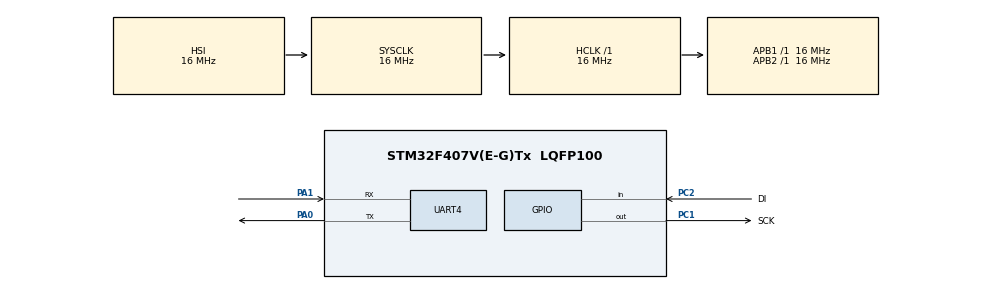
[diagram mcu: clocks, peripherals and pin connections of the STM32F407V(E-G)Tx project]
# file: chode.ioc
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Mcu.Family=STM32F4
Mcu.Name=STM32F407V(E-G)Tx
Mcu.Package=LQFP100
NVIC.PriorityGroup=NVIC_PRIORITYGROUP_4
NVIC.UART4_IRQn=true\:1\:0\:true\:false\:true\:true\:true\:true
PA0-WKUP.Mode=Asynchronous
PA0-WKUP.Signal=UART4_TX
PA1.Mode=Asynchronous
PA1.Signal=UART4_RX
PC1.GPIO_Label=SCK
PC1.Signal=GPIO_Output
PC2.GPIO_Label=DI
PC2.Signal=GPIO_Input
PH0-OSC_IN.Mode=HSE-External-Oscillator
PH0-OSC_IN.Signal=RCC_OSC_IN
PH1-OSC_OUT.Mode=HSE-External-Oscillator
PH1-OSC_OUT.Signal=RCC_OSC_OUT
ProjectManager.HeapSize=0x200
ProjectManager.StackSize=0x400
ProjectManager.TargetToolchain=MDK-ARM V5.32
RCC.AHBFreq_Value=16000000
RCC.APB1Freq_Value=16000000
RCC.APB2Freq_Value=16000000
RCC.CortexFreq_Value=16000000
RCC.HSE_VALUE=25000000
RCC.HSI_VALUE=16000000
RCC.LSE_VALUE=32768
RCC.SYSCLKFreq_VALUE=16000000
RCC.VCOOutputFreq_Value=192000000
UART4.VirtualMode=Asynchronous
board=custom

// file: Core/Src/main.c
/* USER CODE BEGIN Header */
/**
  ******************************************************************************
  * @file           : main.c
  * @brief          : Main program body
  ******************************************************************************
  * @attention
  *
  * Copyright (c) 2023 STMicroelectronics.
  * All rights reserved.
  *
  * This software is licensed under terms that can be found in the LICENSE file
  * in the root directory of this software component.
  * If no LICENSE file comes with this software, it is provided AS-IS.
  *
  ******************************************************************************
  */
/* USER CODE END Header */
#include "main.h"

/* USER CODE BEGIN Includes */
#include "string.h"
#include <stdio.h>
#include "hx711.h"
#include <stdbool.h>
#include "stm32f4xx_hal.h"
/* USER CODE END Includes */

UART_HandleTypeDef huart4;

/* USER CODE BEGIN PV */
#define MAX_LEN 8
uint8_t nRxData[MAX_LEN];
uint8_t nTxData[MAX_LEN];
uint8_t STX[1] = {0xFF};
uint8_t ETX[1] = {0x40};
uint8_t SRX[1] = {0xFE};
uint8_t ERX[1] = {0x40};

bool bDataAvailable;
uint8_t strCommand[2];
uint8_t strOpt[2];
uint8_t strData[2];

uint8_t sampleArray[2] = {0x00, 0x04};
uint8_t sampleArray1[2] = {0x00, 0x00};
uint8_t stroffset[4];
uint8_t strtile[2];
uint8_t strload[2];
uint8_t strweight[2];

hx711_t loadcell;
float weight;
float tilechuyendoi;
int32_t offset=0;
int32_t load_value;
float scale;
int calibb1=0;
int calibb2=0;
/* USER CODE END PV */

void SystemClock_Config(void);
static void MX_GPIO_Init(void);
static void MX_UART4_Init(void);
/* USER CODE BEGIN PFP */

uint8_t *subString(uint8_t *s, int pos, int index)
{
	uint8_t *t = &s[pos];
	s[pos-1] = '\0';
	for (int i= index; i< (strlen((char *)t)+1);i++)
	{
		t[i]='\0';
	}
	return t;
}

bool StrCompare(uint8_t *pBuff, uint8_t *Sample, uint8_t nSize)
{
	for(int i=0;i<nSize;i++)
	{
		if (pBuff[i] != Sample[i])
		{
			return false;
		}
	}
	return true;
}

bool WriteComm(uint8_t *pBuff, uint8_t nSize)
{
	return HAL_UART_Transmit(&huart4,pBuff,nSize,1000);
}

bool ReadComm(uint8_t *pBuff, uint8_t nSize)
{

	if ((pBuff[0] == SRX[0]) && (pBuff[7] == ERX[0]))
	{
		memcpy(strCommand, subString(pBuff,1,2),2);
		memcpy(strOpt, subString(pBuff,3,2),2);
		memcpy(strData, subString(pBuff,5,2),2);
		bDataAvailable = true;

	}
	else
	{
		bDataAvailable = false;
	}
	return bDataAvailable;
}
int a=0;
void HAL_UART_RxCpltCallback(UART_HandleTypeDef *huart)
{
    // X? lý các s? ki?n UART nh?n du?c d? li?u
		if (huart->Instance== huart4.Instance)
		{
			ReadComm(nRxData, MAX_LEN);
			HAL_UART_Receive_IT(&huart4, (uint8_t *)nRxData, MAX_LEN);
			a+=1;
		}
    // Th?c hi?n các công vi?c c?n thi?t
}

bool serialProcesscalib(void)
{
	uint8_t nIndex =0;
	if (bDataAvailable == true)
	{
		if (StrCompare(strCommand,(uint8_t *)sampleArray,2))
		{
			if (StrCompare(strData,(uint8_t *)sampleArray1,2)) // doc offset khi ko load
			{
				memcpy(nTxData +nIndex,STX,1);
				nIndex+=1;
				uint8_t soffset[2] = {0x01, 0x04};
				memcpy(nTxData + nIndex,soffset,2);
				nIndex+=2;
				//memcpy(nTxData + nIndex,sampleArray1,2);
				//nIndex+=2;
				offset = hx711_value_ave(&loadcell,10);
				hx711_tare(&loadcell, 10);
				memcpy(stroffset, &offset, sizeof(int32_t));
				memcpy(nTxData + nIndex,stroffset,4);
				nIndex+=4;
				memcpy(nTxData +nIndex,ETX,1);

				WriteComm(nTxData,MAX_LEN);
				calibb1 +=1;
			}
			else
			{
				memcpy(nTxData +nIndex,STX,1);
				nIndex+=1;
				uint8_t stile[2] = {0x02, 0x04};
				memcpy(nTxData + nIndex,stile,2);
				nIndex+=2;

				uint16_t combinedValue = (strData[1] << 8) | strData[0];
				scale = (float)combinedValue;
				load_value = hx711_value_ave(&loadcell,10);
				hx711_calibration(&loadcell,offset,load_value,scale);
				tilechuyendoi= hx711_coef_get(&loadcell);
				int tile= (int)tilechuyendoi;
				memcpy(strtile, &tile, sizeof(int));
				memcpy(nTxData + nIndex,strtile,2);
				nIndex+=2;
				memcpy(strload, &load_value, sizeof(int32_t));
				memcpy(nTxData + nIndex,strload,2);
				nIndex+=2;
				memcpy(nTxData +nIndex,ETX,1);

				WriteComm(nTxData,MAX_LEN);
				calibb1 +=1;
				calibb2 =1;
			}
		}
		bDataAvailable = false;

	}
	return true;
}

void UART_SendData(float data)
{
    char buffer[20];
    snprintf(buffer, sizeof(buffer), "%.2f\r\n", data); // Format d? li?u thành chu?i
    HAL_UART_Transmit(&huart4, (uint8_t*)buffer, strlen(buffer), HAL_MAX_DELAY); // G?i chu?i qua UART
}
/* USER CODE END PFP */

int main(void)
{

  /* MCU Configuration--------------------------------------------------------*/

  /* Reset of all peripherals, Initializes the Flash interface and the Systick. */
  HAL_Init();

  /* Configure the system clock */
  SystemClock_Config();

  /* Initialize all configured peripherals */
  MX_GPIO_Init();
  MX_UART4_Init();
  /* USER CODE BEGIN 2 */
	HAL_UART_Receive_IT(&huart4, (uint8_t *)nRxData, MAX_LEN);
	// C?u hình chân GPIO cho PC1 và PC2
  GPIO_TypeDef* HX711_CLK_GPIO_Port = GPIOC;
  uint16_t HX711_CLK_Pin = GPIO_PIN_1;
  GPIO_TypeDef* HX711_DATA_GPIO_Port = GPIOC;
  uint16_t HX711_DATA_Pin = GPIO_PIN_2;

	hx711_init(&loadcell, HX711_CLK_GPIO_Port, HX711_CLK_Pin, HX711_DATA_GPIO_Port, HX711_DATA_Pin);
  //hx711_coef_set(&loadcell, 354.5); // read afer calibration  354.5
  //hx711_tare(&loadcell, 10);
  while (1)
  {
    //HAL_Delay(500);
    //weight = hx711_weight(&loadcell, 10);
		//UART_SendData(weight);
		if (calibb1 <2)
		{
			serialProcesscalib();
		}
		if (calibb1 ==2)
		{
			if (calibb2 ==0)
			{
				serialProcesscalib();
				calibb1=1;
			}
			else
			{
				HAL_Delay(500);
				uint8_t nIndex =0;
				memcpy(nTxData +nIndex,STX,1);
				nIndex+=1;
				memcpy(nTxData + nIndex,strCommand,2);
				nIndex+=2;
				memcpy(nTxData + nIndex,strtile,2);
				nIndex+=2;

				weight = hx711_weight(&loadcell, 10);
				memcpy(strweight, &weight, sizeof(float));
				memcpy(nTxData + nIndex,strweight,2);
				nIndex+=2;
				memcpy(nTxData +nIndex,ETX,1);

				WriteComm(nTxData,MAX_LEN);
			}
		}
		if (a>2)
		{
			calibb1=0;
			a=1;
		}

  }
  /* USER CODE END 2 */

  /* Infinite loop */

}

void SystemClock_Config(void)
{
  RCC_OscInitTypeDef RCC_OscInitStruct = {0};
  RCC_ClkInitTypeDef RCC_ClkInitStruct = {0};

  /** Configure the main internal regulator output voltage
  */
  __HAL_RCC_PWR_CLK_ENABLE();
  __HAL_PWR_VOLTAGESCALING_CONFIG(PWR_REGULATOR_VOLTAGE_SCALE1);

  /** Initializes the RCC Oscillators according to the specified parameters
  * in the RCC_OscInitTypeDef structure.
  */
  RCC_OscInitStruct.OscillatorType = RCC_OSCILLATORTYPE_HSI;
  RCC_OscInitStruct.HSIState = RCC_HSI_ON;
  RCC_OscInitStruct.HSICalibrationValue = RCC_HSICALIBRATION_DEFAULT;
  RCC_OscInitStruct.PLL.PLLState = RCC_PLL_NONE;
  if (HAL_RCC_OscConfig(&RCC_OscInitStruct) != HAL_OK)
  {
    Error_Handler();
  }

  /** Initializes the CPU, AHB and APB buses clocks
  */
  RCC_ClkInitStruct.ClockType = RCC_CLOCKTYPE_HCLK|RCC_CLOCKTYPE_SYSCLK
                              |RCC_CLOCKTYPE_PCLK1|RCC_CLOCKTYPE_PCLK2;
  RCC_ClkInitStruct.SYSCLKSource = RCC_SYSCLKSOURCE_HSI;
  RCC_ClkInitStruct.AHBCLKDivider = RCC_SYSCLK_DIV1;
  RCC_ClkInitStruct.APB1CLKDivider = RCC_HCLK_DIV1;
  RCC_ClkInitStruct.APB2CLKDivider = RCC_HCLK_DIV1;

  if (HAL_RCC_ClockConfig(&RCC_ClkInitStruct, FLASH_LATENCY_0) != HAL_OK)
  {
    Error_Handler();
  }
}

static void MX_UART4_Init(void)
{

  huart4.Instance = UART4;
  huart4.Init.BaudRate = 115200;
  huart4.Init.WordLength = UART_WORDLENGTH_8B;
  huart4.Init.StopBits = UART_STOPBITS_1;
  huart4.Init.Parity = UART_PARITY_NONE;
  huart4.Init.Mode = UART_MODE_TX_RX;
  huart4.Init.HwFlowCtl = UART_HWCONTROL_NONE;
  huart4.Init.OverSampling = UART_OVERSAMPLING_16;
  if (HAL_UART_Init(&huart4) != HAL_OK)
  {
    Error_Handler();
  }

}

static void MX_GPIO_Init(void)
{
  GPIO_InitTypeDef GPIO_InitStruct = {0};

  /* GPIO Ports Clock Enable */
  __HAL_RCC_GPIOH_CLK_ENABLE();
  __HAL_RCC_GPIOC_CLK_ENABLE();
  __HAL_RCC_GPIOA_CLK_ENABLE();

  /*Configure GPIO pin Output Level */
  HAL_GPIO_WritePin(SCK_GPIO_Port, SCK_Pin, GPIO_PIN_RESET);

  /*Configure GPIO pin : SCK_Pin */
  GPIO_InitStruct.Pin = SCK_Pin;
  GPIO_InitStruct.Mode = GPIO_MODE_OUTPUT_PP;
  GPIO_InitStruct.Pull = GPIO_NOPULL;
  GPIO_InitStruct.Speed = GPIO_SPEED_FREQ_LOW;
  HAL_GPIO_Init(SCK_GPIO_Port, &GPIO_InitStruct);

  /*Configure GPIO pin : DI_Pin */
  GPIO_InitStruct.Pin = DI_Pin;
  GPIO_InitStruct.Mode = GPIO_MODE_INPUT;
  GPIO_InitStruct.Pull = GPIO_NOPULL;
  HAL_GPIO_Init(DI_GPIO_Port, &GPIO_InitStruct);

}

void Error_Handler(void)
{
  __disable_irq();
  while (1)
  {
  }
}
